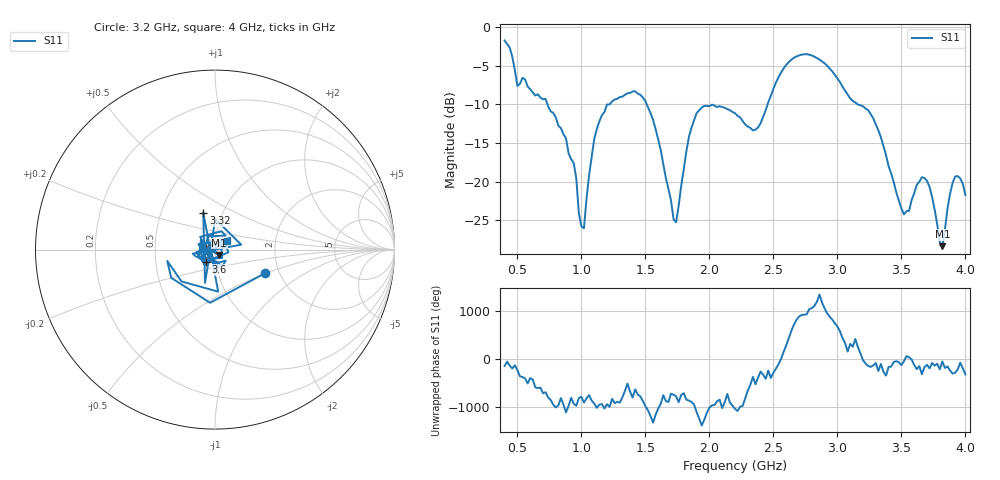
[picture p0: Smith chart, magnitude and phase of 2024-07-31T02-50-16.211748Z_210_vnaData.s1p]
!Created with skrf (http://scikit-rf.org).
# Hz S RI R 50.0
!freq ReS11 ImS11
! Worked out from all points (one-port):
!   181 points, 400 MHz to 4 GHz, reference 50 ohm
!   lowest |S11| = -28.3 dB at 3.82 GHz (marker M1), VSWR 1.08, Z = 52.3 - j3.21 ohm
!   |S11| at or under -10 dB: 734.8 MHz to 1.22 GHz (485.3 MHz wide, 49.7 % of centre); 1.511 GHz to 2.455 GHz (943.9 MHz wide, 47.6 % of centre); 3.159 GHz to end of sweep
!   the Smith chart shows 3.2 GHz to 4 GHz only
!   S11 on the Smith chart (normalised r, x): 3.2 GHz: 1.68, -0.49; 3.32 GHz: 0.81, +0.35; 3.6 GHz: 0.90, -0.12; 4 GHz: 1.14, +0.11
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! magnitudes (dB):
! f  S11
! 400 MHz  -1.7
! 500 MHz  -7.6
! 720 MHz  -9.3
! 860 MHz  -13.9
! 940 MHz  -17.6
! 980 MHz  -24.0
! 1.02 GHz  -26.0
! 1.12 GHz  -13.2
! 1.3 GHz  -9.1
! 1.5 GHz  -9.6
! 1.72 GHz  -24.8
! 1.76 GHz  -23.1
! 1.84 GHz  -14.2
! 1.9 GHz  -11.1
! 2.2 GHz  -11.1
! 2.38 GHz  -13.0
! 2.66 GHz  -4.0
! 2.88 GHz  -4.4
! 3.1 GHz  -9.2
! 3.2 GHz  -10.2
! 3.32 GHz  -13.3
! 3.5 GHz  -23.4
! 3.56 GHz  -23.8
! 3.6 GHz  -21.5
! 3.7 GHz  -19.9
! 3.82 GHz  -28.3
! 3.92 GHz  -19.3
! 4 GHz  -21.7
